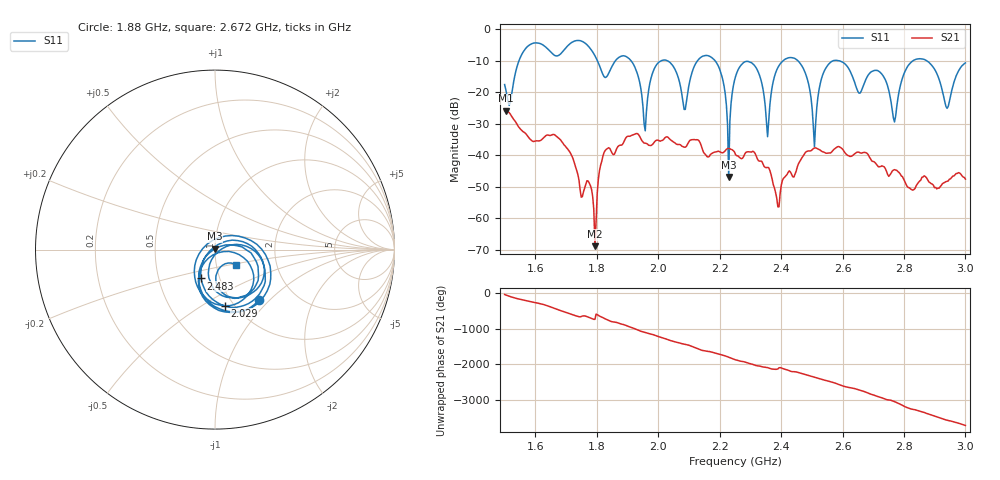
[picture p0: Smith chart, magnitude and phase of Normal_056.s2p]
# HZ S RI R 50
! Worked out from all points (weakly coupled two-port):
!   404 points, 1.5 GHz to 3 GHz, reference 50 ohm
!   highest |S21| = -25.85 dB at 1.504 GHz (marker M1); lowest = -68.9 dB at 1.794 GHz (marker M2)
!   lowest |S11| = -46.9 dB at 2.23 GHz (marker M3), VSWR 1.01, Z = 49.9 + j0.45 ohm
!   |S11| at or under -10 dB: 2.185 GHz to 2.407 GHz (222 MHz wide, 9.67 % of centre); 2.587 GHz to 2.83 GHz (243 MHz wide, 8.97 % of centre); 2.874 GHz to end of sweep (the widest 3 of 8)
!   S12 and S22 are empty: the file has one direction only
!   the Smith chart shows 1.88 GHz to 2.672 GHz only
!   S11 on the Smith chart (normalised r, x): 1.88 GHz: 1.33, -0.87; 2.029 GHz: 0.91, -0.63; 2.483 GHz: 0.82, -0.27; 2.672 GHz: 1.25, -0.22
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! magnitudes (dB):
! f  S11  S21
! 1.5 GHz  -17.6  -25.9
! 1.504 GHz  -19.1  -25.9
! 1.753 GHz  -3.9  -53.1
! 1.794 GHz  -8.4  -68.9
! 1.824 GHz  -15.1  -39.1
! 1.88 GHz  -8.6  -36.8
! 1.958 GHz  -32.2  -36.2
! 2.002 GHz  -10.4  -35.3
! 2.029 GHz  -10.0  -34.1
! 2.084 GHz  -25.5  -37.4
! 2.181 GHz  -9.6  -39.1
! 2.23 GHz  -46.9  -37.9
! 2.252 GHz  -15.0  -39.8
! 2.315 GHz  -11.7  -39.4
! 2.356 GHz  -34.1  -43.9
! 2.39 GHz  -12.2  -56.4
! 2.483 GHz  -15.0  -38.9
! 2.501 GHz  -25.3  -38.3
! 2.565 GHz  -10.3  -39.0
! 2.672 GHz  -16.7  -39.1
! 2.751 GHz  -19.4  -46.7
! 3 GHz  -10.7  -47.6
